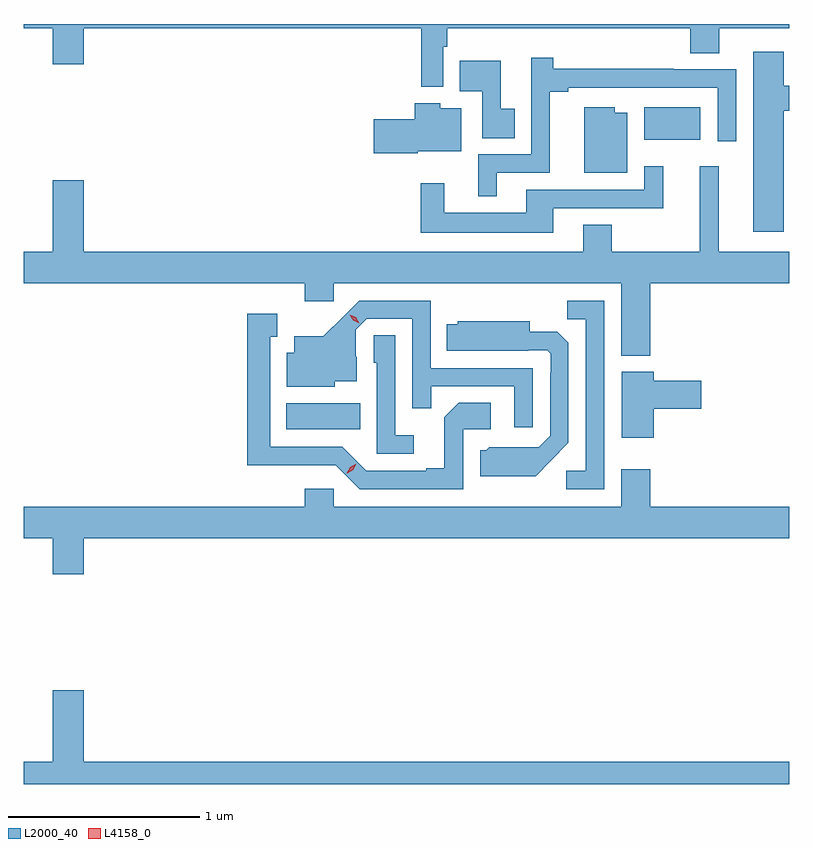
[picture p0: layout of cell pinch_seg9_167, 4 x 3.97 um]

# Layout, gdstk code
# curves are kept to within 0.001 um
import gdstk
lib = gdstk.Library(unit=1e-6, precision=1e-09)
def R(c, l, rs):  # rectangles x0, y0, x1, y1
    for r in rs: c.add(gdstk.rectangle(r[:2], r[2:], *l))
def P(c, l, *ps):  # polygons
    for p in ps: c.add(gdstk.Polygon(p, *l))
L2000_40 = (2000, 40)
L4158_0 = (4158, 0)

pinch_seg9_167 = lib.new_cell('pinch_seg9_167')
R(pinch_seg9_167, L2000_40, [(645.749,1166.354,646.136,1166.488), (647.618,1167.866,647.911,1168.036)])
P(pinch_seg9_167, L2000_40, [(646.569,1168.352),(646.589,1168.352),(646.589,1168.448),(647.858,1168.448),(647.858,1168.318),(648.01,1168.318),(648.01,1168.448),(648.377,1168.448),(648.377,1168.47),(644.377,1168.47),(644.377,1168.448),(644.528,1168.448),(644.528,1168.26),(644.692,1168.26),(644.692,1168.448),(646.453,1168.448),(646.453,1168.142),(646.569,1168.142)],
  [(648.347,1168.018),(648.377,1168.018),(648.377,1168.147),(648.347,1168.147),(648.347,1168.324),(648.188,1168.324),(648.188,1167.384),(648.347,1167.384)],
  [(646.849,1167.693),(647.126,1167.693),(647.126,1168.117),(647.221,1168.117),(647.221,1168.137),(648.003,1168.137),(648.003,1167.858),(648.099,1167.858),(648.099,1168.233),(647.774,1168.233),(647.774,1168.235),(647.144,1168.235),(647.144,1168.294),(647.028,1168.294),(647.028,1167.789),(646.751,1167.789),(646.751,1167.569),(646.849,1167.569)],
  [(646.943,1168.026),(646.87,1168.026),(646.87,1168.279),(646.654,1168.279),(646.654,1168.118),(646.773,1168.118),(646.773,1167.874),(646.943,1167.874)],
  [(646.437,1167.806),(646.663,1167.806),(646.663,1168.03),(646.554,1168.03),(646.554,1168.057),(646.421,1168.057),(646.421,1167.972),(646.206,1167.972),(646.206,1167.794),(646.437,1167.794)],
  [(647.53,1168.006),(647.464,1168.006),(647.464,1168.036),(647.306,1168.036),(647.306,1167.692),(647.53,1167.692)],
  [(647.651,1167.116),(648.377,1167.116),(648.377,1167.28),(648.008,1167.28),(648.008,1167.727),(647.909,1167.727),(647.909,1167.28),(647.448,1167.28),(647.448,1167.422),(647.3,1167.422),(647.3,1167.28),(644.692,1167.28),(644.692,1167.655),(644.528,1167.655),(644.528,1167.28),(644.377,1167.28),(644.377,1167.116),(645.845,1167.116),(645.845,1167.021),(645.996,1167.021),(645.996,1167.116),(647.498,1167.116),(647.498,1166.738),(647.651,1166.738)],
  [(647.143,1167.507),(647.717,1167.507),(647.717,1167.727),(647.619,1167.727),(647.619,1167.603),(647.003,1167.603),(647.003,1167.484),(646.573,1167.484),(646.573,1167.637),(646.452,1167.637),(646.452,1167.38),(647.143,1167.38)],
  [(647.037,1166.673),(646.503,1166.673),(646.503,1167.024),(646.13,1167.024),(645.943,1166.839),(645.791,1166.839),(645.791,1166.752),(645.752,1166.752),(645.752,1166.576),(646.002,1166.576),(646.002,1166.603),(646.117,1166.603),(646.117,1166.732),(646.113,1166.732),(646.113,1166.874),(646.17,1166.931),(646.407,1166.931),(646.407,1166.464),(646.505,1166.464),(646.505,1166.577),(646.941,1166.577),(646.941,1166.364),(647.037,1166.364)],
  [(647.409,1167.024),(647.218,1167.024),(647.218,1166.929),(647.313,1166.929),(647.313,1166.136),(647.211,1166.136),(647.211,1166.04),(647.409,1166.04)],
  [(646.674,1166.352),(646.816,1166.352),(646.816,1166.492),(646.651,1166.492),(646.575,1166.416),(646.575,1166.149),(646.481,1166.149),(646.481,1166.136),(646.167,1166.136),(646.041,1166.262),(645.664,1166.262),(645.664,1166.835),(645.703,1166.835),(645.703,1166.956),(645.546,1166.956),(645.546,1166.165),(646.008,1166.166),(646.134,1166.04),(646.674,1166.04)],
  [(647.131,1166.189),(647.223,1166.282),(647.223,1166.804),(647.164,1166.863),(647.02,1166.863),(647.02,1166.917),(646.644,1166.917),(646.644,1166.902),(646.588,1166.902),(646.588,1166.762),(647.012,1166.762),(647.012,1166.766),(647.112,1166.766),(647.13,1166.748),(647.13,1166.648),(647.127,1166.648),(647.127,1166.319),(647.067,1166.259),(646.81,1166.26),(646.794,1166.244),(646.763,1166.244),(646.763,1166.108),(647.051,1166.108)],
  [(646.414,1166.323),(646.317,1166.323),(646.317,1166.843),(646.206,1166.843),(646.206,1166.7),(646.221,1166.7),(646.221,1166.226),(646.414,1166.226)],
  [(647.668,1166.459),(647.917,1166.459),(647.917,1166.606),(647.668,1166.606),(647.668,1166.653),(647.501,1166.653),(647.501,1166.31),(647.668,1166.31)],
  [(644.692,1165.784),(648.377,1165.784),(648.377,1165.948),(647.651,1165.948),(647.651,1166.143),(647.498,1166.143),(647.498,1165.948),(645.996,1165.948),(645.996,1166.041),(645.845,1166.041),(645.845,1165.948),(644.377,1165.948),(644.377,1165.784),(644.528,1165.784),(644.528,1165.596),(644.692,1165.596)],
  [(648.377,1164.616),(644.692,1164.616),(644.692,1164.991),(644.528,1164.991),(644.528,1164.616),(644.377,1164.616),(644.377,1164.5),(648.377,1164.5)])
P(pinch_seg9_167, L4158_0, [(646.129,1166.907),(646.099,1166.922),(646.081,1166.952),(646.081,1166.952),(646.081,1166.952),(646.112,1166.937),(646.13,1166.907),(646.13,1166.907)],
  [(646.066,1166.122),(646.066,1166.123),(646.084,1166.155),(646.115,1166.174),(646.115,1166.174),(646.115,1166.174),(646.098,1166.141),(646.067,1166.122)])

lib.write_gds('pinch_seg9_167.gds')
